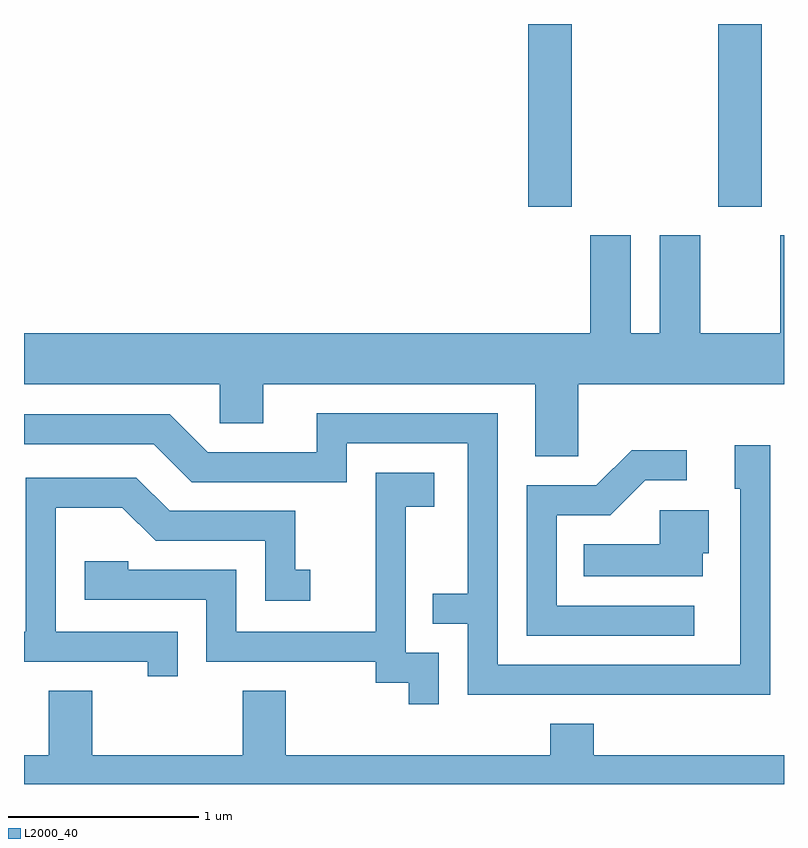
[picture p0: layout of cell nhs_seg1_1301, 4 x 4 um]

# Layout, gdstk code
import gdstk
lib = gdstk.Library(unit=1e-6, precision=1e-09)
def R(c, l, rs):  # rectangles x0, y0, x1, y1
    for r in rs: c.add(gdstk.rectangle(r[:2], r[2:], *l))
def P(c, l, *ps):  # polygons
    for p in ps: c.add(gdstk.Polygon(p, *l))
L2000_40 = (2000, 40)

nhs_seg1_1301 = lib.new_cell('nhs_seg1_1301')
R(nhs_seg1_1301, L2000_40, [(228.266,882.751,228.494,883.712), (229.266,882.751,229.494,883.712)])
P(nhs_seg1_1301, L2000_40, [(228.529,881.816),(229.611,881.816),(229.611,882.599),(229.591,882.599),(229.591,882.084),(229.169,882.084),(229.169,882.599),(228.956,882.599),(228.956,882.084),(228.804,882.084),(228.804,882.599),(228.591,882.599),(228.591,882.084),(225.611,882.084),(225.611,881.816),(226.641,881.816),(226.641,881.611),(226.869,881.611),(226.869,881.816),(228.301,881.816),(228.301,881.436),(228.529,881.436)],
  [(229.539,881.494),(229.351,881.494),(229.351,881.266),(229.381,881.266),(229.381,880.339),(228.104,880.339),(228.104,881.664),(227.151,881.664),(227.151,881.459),(226.577,881.459),(226.377,881.659),(225.611,881.659),(225.611,881.501),(226.294,881.501),(226.494,881.301),(227.309,881.301),(227.309,881.506),(227.946,881.506),(227.946,880.714),(227.763,880.714),(227.763,880.556),(227.946,880.556),(227.946,880.181),(229.539,880.181)],
  [(229.138,880.649),(228.414,880.649),(228.414,881.126),(228.697,881.126),(228.882,881.311),(229.098,881.311),(229.098,881.469),(228.809,881.469),(228.624,881.284),(228.256,881.284),(228.256,880.491),(229.138,880.491)],
  [(227.794,880.404),(227.619,880.404),(227.619,881.171),(227.769,881.171),(227.769,881.349),(227.461,881.349),(227.461,880.514),(226.729,880.514),(226.729,880.839),(226.159,880.839),(226.159,880.884),(225.931,880.884),(225.931,880.681),(226.571,880.681),(226.571,880.356),(227.461,880.356),(227.461,880.246),(227.636,880.246),(227.636,880.133),(227.794,880.133)],
  [(226.419,880.514),(225.779,880.514),(225.779,881.166),(226.129,881.166),(226.304,880.991),(226.881,880.991),(226.881,880.676),(227.118,880.676),(227.118,880.839),(227.039,880.839),(227.039,881.149),(226.377,881.149),(226.202,881.324),(225.621,881.324),(225.621,880.514),(225.611,880.514),(225.611,880.356),(226.261,880.356),(226.261,880.278),(226.419,880.278)],
  [(229.184,880.926),(229.214,880.926),(229.214,881.154),(228.956,881.154),(228.956,880.974),(228.558,880.974),(228.558,880.806),(229.184,880.806)],
  [(229.611,879.864),(228.609,879.864),(228.609,880.029),(228.381,880.029),(228.381,879.864),(226.989,879.864),(226.989,880.204),(226.761,880.204),(226.761,879.864),(225.969,879.864),(225.969,880.204),(225.741,880.204),(225.741,879.864),(225.611,879.864),(225.611,879.712),(229.611,879.712)])

lib.write_gds('nhs_seg1_1301.gds')
